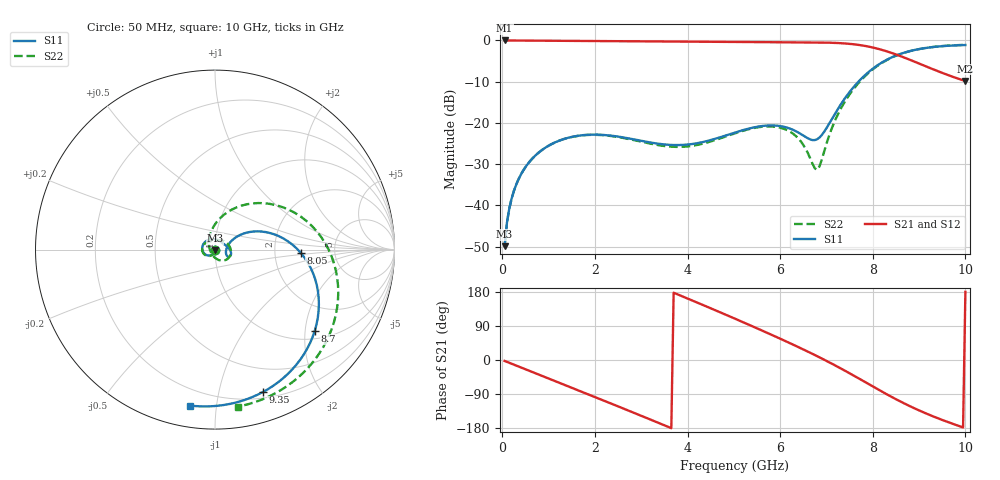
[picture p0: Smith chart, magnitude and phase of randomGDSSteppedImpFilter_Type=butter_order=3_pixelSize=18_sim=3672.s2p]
! freq	dB(S11)	phase(S11)	dB(S12)	phase(S12)
!  dB(S21)	phase(S21)	dB(S22)	phase(S22)
!S-par simulation data
#  GHz  S  DB  R 50
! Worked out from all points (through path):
!   200 points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, 50 MHz to 10 GHz, reference 50 ohm
!   highest |S21| = 0.00 dB at 50 MHz (marker M1); lowest = -9.8 dB at 10 GHz (marker M2)
!   group delay of S21, straight-line fit = 153 ps
!   lowest |S11| = -49.9 dB at 50 MHz (marker M3), VSWR 1.01, Z = 50 - j0.32 ohm
!   |S11| at or under -10 dB: start of sweep to 7.69 GHz
!   |S22| runs from -49.9 to -1.1 dB; largest |S21 - S12| = 0
!   S11 on the Smith chart (normalised r, x): 50 MHz: 1.00, -0.01; 8.05 GHz: 2.82, -0.12; 8.7 GHz: 1.21, -2.25; 9.35 GHz: 0.25, -1.36; 10 GHz: 0.11, -0.85
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0.05  -49.89 -87.5  -0.00 -2.5  -0.00 -2.5  -49.88 -87.2
0.1  -44.23 -91.6  -0.01 -5.0  -0.01 -5.0  -44.23 -91.2
0.2  -38.41 -98.6  -0.02 -9.8  -0.02 -9.8  -38.40 -97.7
0.5  -30.72 -115.8  -0.04 -24.5  -0.04 -24.5  -30.71 -113.4
1.15  -24.67 -150.5  -0.08 -56.2  -0.08 -56.2  -24.67 -144.3
1.75  -22.96 177.2  -0.12 -85.5  -0.12 -85.5  -22.99 -171.7
2.5  -23.32 134.6  -0.16 -122.3  -0.16 -122.3  -23.43 155.6
3.4  -25.10 79.5  -0.22 -167.3  -0.22 -167.3  -25.45 118.9
4.2  -24.94 37.4  -0.29 152.0  -0.29 152.0  -25.36 79.8
5.05  -22.24 6.3  -0.36 107.7  -0.36 107.7  -22.42 27.3
5.55  -20.85 -10.7  -0.40 80.9  -0.40 80.9  -21.01 -4.7
6.1  -20.99 -26.5  -0.44 50.7  -0.44 50.7  -21.51 -42.1
6.45  -22.72 -26.8  -0.46 30.8  -0.46 30.8  -24.54 -72.8
6.7  -24.16 -9.9  -0.48 16.1  -0.48 16.1  -29.93 -119.6
6.85  -23.54 8.5  -0.50 7.0  -0.50 7.0  -30.53 173.4
7.35  -14.81 29.3  -0.69 -25.0  -0.69 -25.0  -15.74 84.1
7.7  -9.88 16.7  -1.09 -48.8  -1.09 -48.8  -10.22 54.9
8.05  -6.43 -2.0  -1.84 -73.2  -1.84 -73.2  -6.58 28.1
8.35  -4.41 -19.4  -2.81 -93.7  -2.81 -93.7  -4.48 6.6
8.7  -2.89 -39.2  -4.24 -115.9  -4.24 -115.9  -2.91 -16.5
9.35  -1.54 -71.6  -7.21 -151.1  -7.21 -151.1  -1.52 -52.4
10  -1.11 -99.1  -9.83 179.9  -9.83 179.9  -1.07 -81.8
